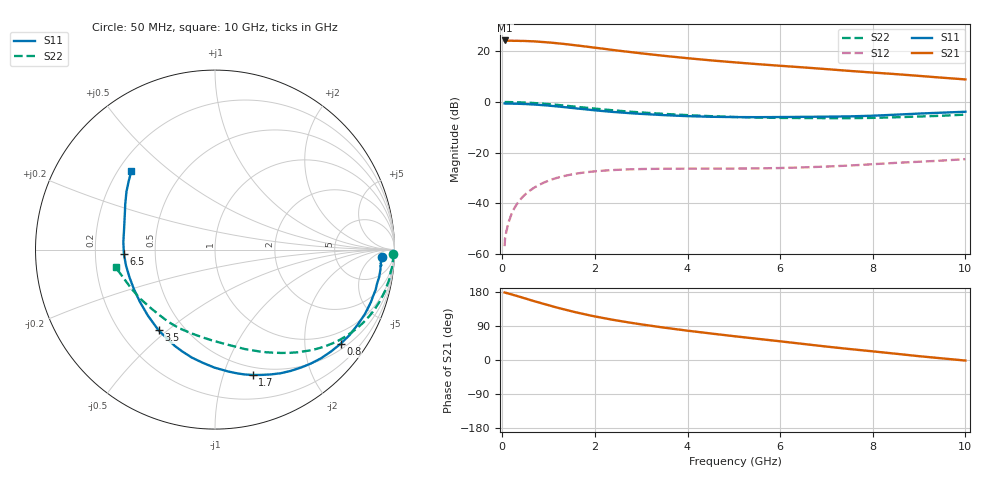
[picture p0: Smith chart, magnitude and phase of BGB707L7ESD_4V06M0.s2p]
!  Infineon Technologies AG
!  BGB707L7ESD RU919007 w#7 Sample Build #08493 Teil Nr. 3
!  Vce = 4.0V, Ic = 6.0mA
!  DATUM: 30.06.2009 10:58:20
# GHz  S  MA  R  50
!f  S11  S21  S12  S22
!GHz  Mag  Ang  Mag  Ang  Mag  Ang  Mag  Ang
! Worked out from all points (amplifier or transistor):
!   52 points, 50 MHz to 10 GHz, reference 50 ohm
!   highest |S21| = 24.2 dB at 60 MHz (marker M1)
!   |S21| within 3 dB of that: start of sweep to 2.064 GHz
!   unconditionally stable (mu >= 1): 6.038 GHz to 9.709 GHz
!   at 130 MHz: K = 0.13, MSG = 35.9 dB, |S12| = -47.7 dB
!   at 1.4 GHz: K = 0.19, MSG = 25.8 dB, |S12| = -28.9 dB
!   at 10 GHz: K = 0.96, MSG = 15.7 dB, |S12| = -22.6 dB
!   lowest NFmin = 0.45 dB at 100 MHz
!   S11 on the Smith chart (normalised r, x): 50 MHz: 20, -12; 800 MHz: 0.64, -2.87; 1.7 GHz: 0.42, -1.25; 3.5 GHz: 0.36, -0.47; 6.5 GHz: 0.33, -0.02; 10 GHz: 0.25, +0.37
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0.05  0.9305 -2.5  16 178.1  0.001435 72.6  0.9934 -1.3
0.06  0.9304 -2.8  16.28 177.8  0.002065 76.5  0.994 -1.6
0.08  0.9251 -3.5  15.99 176.9  0.002583 79.3  0.9939 -2.3
0.09  0.9282 -4.4  16.12 177.2  0.002866 78.4  0.9938 -2.6
0.1  0.9254 -4.8  16.04 176.3  0.003072 78.3  0.9933 -2.9
0.2  0.9275 -9.5  16.1 173.3  0.00624 80.4  0.9909 -6.0
0.45  0.9123 -21.0  15.95 164.0  0.01372 76.0  0.9758 -13.4
0.8  0.8747 -36.9  15.35 151.4  0.02334 67.0  0.9361 -23.4
1.2  0.813 -54.0  14.28 137.8  0.03225 57.5  0.8728 -33.8
1.5  0.7622 -65.8  13.34 128.5  0.03726 51.2  0.82 -40.8
1.7  0.7291 -73.3  12.68 122.9  0.03987 47.4  0.7862 -45.0
1.8  0.7144 -76.8  12.37 120.2  0.04097 45.8  0.7695 -46.9
2.2  0.6576 -90.2  11.13 110.3  0.04434 40.1  0.7092 -54.2
2.6  0.6153 -102.1  10.01 101.8  0.0464 35.7  0.6597 -60.5
3  0.5812 -112.8  9.072 94.1  0.04757 32.6  0.6201 -66.3
3.5  0.5488 -124.9  8.089 85.3  0.04822 29.9  0.5808 -72.9
4.5  0.51 -144.9  6.597 70.0  0.04848 28.3  0.5243 -85.3
5.5  0.5008 -162.2  5.568 56.1  0.04894 30.1  0.4922 -99.2
6.5  0.508 -177.0  4.792 42.4  0.05125 33.9  0.4813 -114.3
7  0.5124 175.3  4.433 35.4  0.05321 35.7  0.4794 -122.4
8.5  0.5607 153.1  3.531 16.5  0.06293 39.1  0.4987 -147.0
10  0.6401 136.7  2.778 -1.5  0.07446 39.2  0.5621 -169.8
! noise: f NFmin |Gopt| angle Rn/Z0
0.1  0.45  0.46  2  0.18
0.45  0.53  0.46  4  0.18
0.9  0.61  0.47  12  0.18
1.8  0.63  0.4  33  0.17
5  0.92  0.31  70  0.16
10  1.53  0.4  -131  0.13
